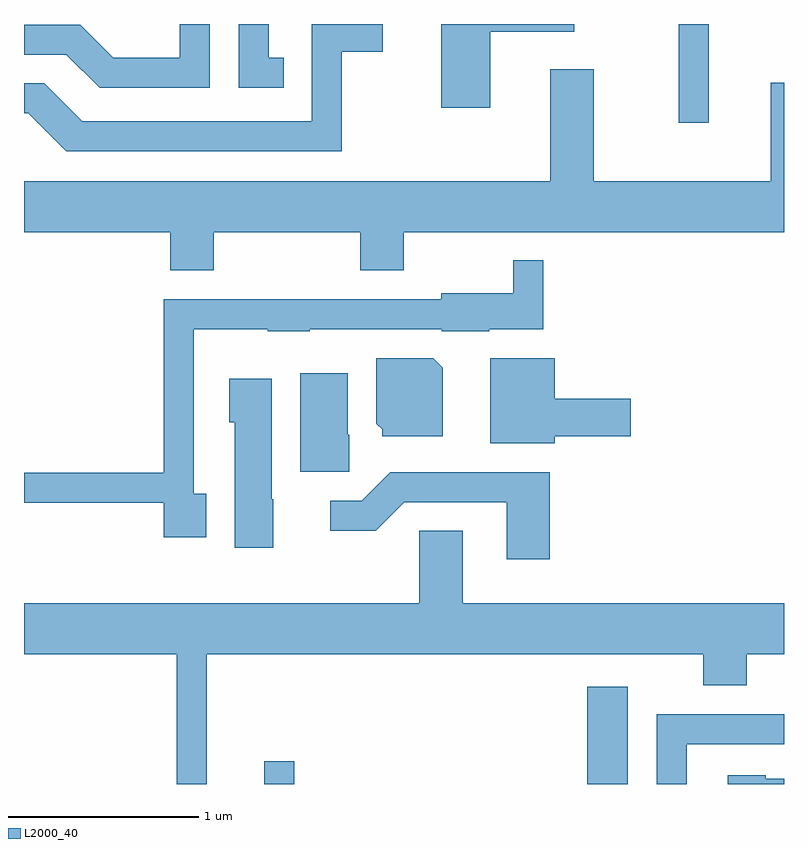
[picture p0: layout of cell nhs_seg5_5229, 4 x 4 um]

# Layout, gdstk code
import gdstk
lib = gdstk.Library(unit=1e-6, precision=1e-09)
def R(c, l, rs):  # rectangles x0, y0, x1, y1
    for r in rs: c.add(gdstk.rectangle(r[:2], r[2:], *l))
def P(c, l, *ps):  # polygons
    for p in ps: c.add(gdstk.Polygon(p, *l))
L2000_40 = (2000, 40)

nhs_seg5_5229 = lib.new_cell('nhs_seg5_5229')
R(nhs_seg5_5229, L2000_40, [(340.876,1496.072,341.034,1496.193), (342.576,1496.072,342.789,1496.584), (343.056,1499.553,343.214,1500.072)])
P(nhs_seg5_5229, L2000_40, [(340.978,1499.894),(340.899,1499.894),(340.899,1500.072),(340.741,1500.072),(340.741,1499.736),(340.978,1499.736)],
  [(342.064,1500.031),(342.508,1500.031),(342.508,1500.072),(341.806,1500.072),(341.806,1499.631),(342.064,1499.631)],
  [(340.589,1500.072),(340.431,1500.072),(340.431,1499.894),(340.082,1499.894),(339.907,1500.069),(339.611,1500.069),(339.611,1499.911),(339.834,1499.911),(340.009,1499.736),(340.589,1499.736)],
  [(341.284,1499.926),(341.499,1499.926),(341.499,1500.072),(341.126,1500.072),(341.126,1499.559),(339.917,1499.559),(339.717,1499.759),(339.611,1499.759),(339.611,1499.601),(339.634,1499.601),(339.834,1499.401),(341.284,1499.401)],
  [(340.609,1498.976),(341.381,1498.976),(341.381,1498.776),(341.609,1498.776),(341.609,1498.976),(343.611,1498.976),(343.611,1499.764),(343.541,1499.764),(343.541,1499.244),(342.609,1499.244),(342.609,1499.834),(342.381,1499.834),(342.381,1499.244),(339.611,1499.244),(339.611,1498.976),(340.381,1498.976),(340.381,1498.776),(340.609,1498.776)],
  [(340.569,1497.599),(340.504,1497.599),(340.504,1498.466),(340.895,1498.466),(340.895,1498.456),(341.115,1498.456),(341.115,1498.466),(341.81,1498.466),(341.81,1498.456),(342.06,1498.456),(342.06,1498.466),(342.344,1498.466),(342.344,1498.828),(342.186,1498.828),(342.186,1498.654),(341.806,1498.654),(341.806,1498.624),(340.346,1498.624),(340.346,1497.709),(339.611,1497.709),(339.611,1497.551),(340.346,1497.551),(340.346,1497.371),(340.569,1497.371)],
  [(341.814,1498.264),(341.764,1498.314),(341.466,1498.314),(341.466,1497.969),(341.496,1497.939),(341.496,1497.901),(341.814,1497.901)],
  [(342.404,1497.901),(342.804,1497.901),(342.804,1498.099),(342.404,1498.099),(342.404,1498.314),(342.066,1498.314),(342.066,1497.866),(342.404,1497.866)],
  [(341.324,1497.91),(341.314,1497.91),(341.314,1498.234),(341.066,1498.234),(341.066,1497.716),(341.324,1497.716)],
  [(340.924,1497.57),(340.914,1497.57),(340.914,1498.204),(340.691,1498.204),(340.691,1497.976),(340.721,1497.976),(340.721,1497.316),(340.924,1497.316)],
  [(342.379,1497.714),(341.539,1497.714),(341.389,1497.564),(341.223,1497.564),(341.223,1497.406),(341.462,1497.406),(341.612,1497.556),(342.151,1497.556),(342.151,1497.256),(342.379,1497.256)],
  [(340.574,1496.756),(343.186,1496.756),(343.186,1496.591),(343.414,1496.591),(343.414,1496.756),(343.611,1496.756),(343.611,1497.024),(341.919,1497.024),(341.919,1497.404),(341.691,1497.404),(341.691,1497.024),(339.611,1497.024),(339.611,1496.756),(340.416,1496.756),(340.416,1496.072),(340.574,1496.072)],
  [(343.099,1496.281),(343.611,1496.281),(343.611,1496.439),(342.941,1496.439),(342.941,1496.072),(343.099,1496.072)],
  [(343.611,1496.099),(343.514,1496.099),(343.514,1496.119),(343.316,1496.119),(343.316,1496.072),(343.611,1496.072)])

lib.write_gds('nhs_seg5_5229.gds')
